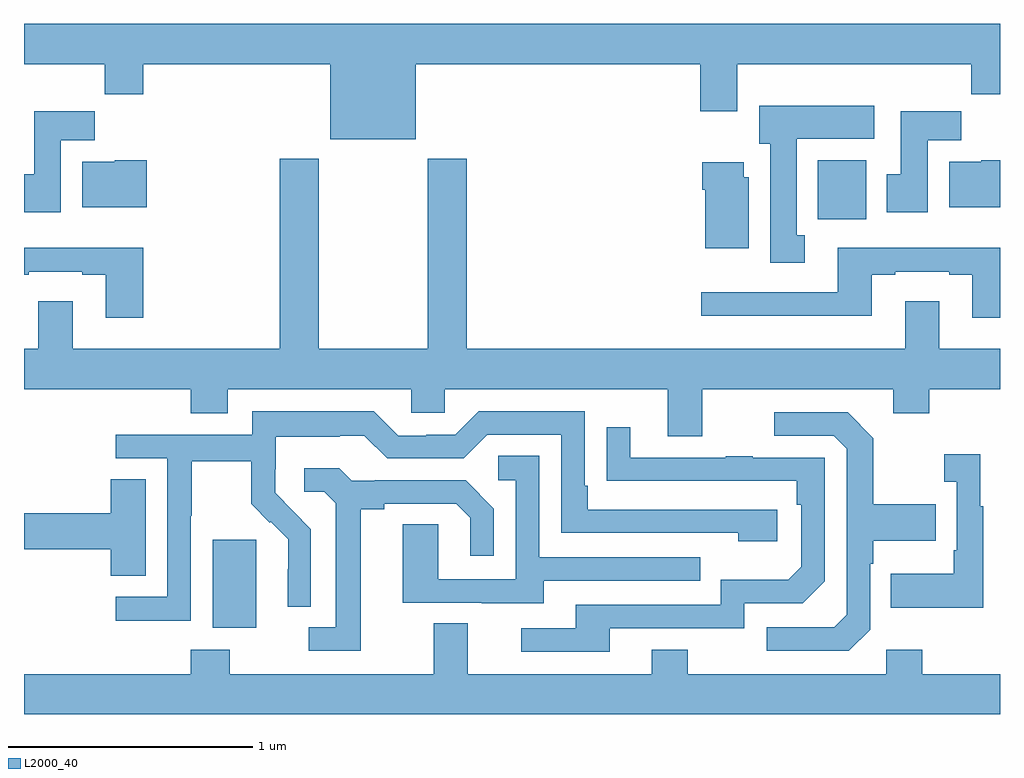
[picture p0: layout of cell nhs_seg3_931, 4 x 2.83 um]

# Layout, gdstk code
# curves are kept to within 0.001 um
import gdstk
lib = gdstk.Library(unit=1e-6, precision=1e-09)
def R(c, l, rs):  # rectangles x0, y0, x1, y1
    for r in rs: c.add(gdstk.rectangle(r[:2], r[2:], *l))
def P(c, l, *ps):  # polygons
    for p in ps: c.add(gdstk.Polygon(p, *l))
L2000_40 = (2000, 40)

nhs_seg3_931 = lib.new_cell('nhs_seg3_931')
R(nhs_seg3_931, L2000_40, [(159.773,705.266,159.952,705.627), (162.254,706.94,162.451,707.182)])
P(nhs_seg3_931, L2000_40, [(160.606,707.576),(161.771,707.576),(161.771,707.382),(161.923,707.382),(161.923,707.576),(162.883,707.576),(162.883,707.452),(163,707.452),(163,707.74),(159,707.74),(159,707.576),(159.331,707.576),(159.331,707.452),(159.488,707.452),(159.488,707.576),(160.256,707.576),(160.256,707.267),(160.606,707.267)],
  [(162.199,706.874),(162.166,706.874),(162.166,707.27),(162.484,707.27),(162.484,707.404),(162.014,707.404),(162.014,707.25),(162.059,707.25),(162.059,706.761),(162.199,706.761)],
  [(162.703,707.264),(162.842,707.264),(162.842,707.383),(162.593,707.383),(162.593,707.124),(162.536,707.124),(162.536,706.968),(162.703,706.968)],
  [(159.151,707.264),(159.29,707.264),(159.29,707.383),(159.041,707.383),(159.041,707.124),(159,707.124),(159,706.968),(159.151,706.968)],
  [(161.779,706.244),(162.563,706.244),(162.563,706.145),(162.711,706.145),(162.711,706.244),(163,706.244),(163,706.408),(162.751,706.408),(162.751,706.603),(162.611,706.603),(162.611,706.408),(160.814,706.408),(160.814,707.188),(160.654,707.188),(160.654,706.408),(160.209,706.408),(160.209,707.188),(160.049,707.188),(160.049,706.408),(159.199,706.408),(159.199,706.603),(159.059,706.603),(159.059,706.408),(159,706.408),(159,706.244),(159.683,706.244),(159.683,706.145),(159.835,706.145),(159.835,706.244),(160.587,706.244),(160.587,706.146),(160.725,706.146),(160.725,706.244),(161.639,706.244),(161.639,706.05),(161.779,706.05)],
  [(163,707.182),(162.924,707.182),(162.924,707.176),(162.791,707.176),(162.791,706.988),(163,706.988)],
  [(159.503,707.182),(159.372,707.182),(159.372,707.176),(159.239,707.176),(159.239,706.988),(159.503,706.988)],
  [(161.971,707.112),(161.95,707.112),(161.95,707.173),(161.78,707.173),(161.78,707.06),(161.792,707.06),(161.792,706.82),(161.971,706.82)],
  [(159.488,706.822),(159,706.822),(159,706.713),(159.019,706.713),(159.019,706.725),(159.239,706.725),(159.239,706.713),(159.335,706.713),(159.335,706.536),(159.488,706.536)],
  [(163,706.822),(162.335,706.822),(162.335,706.641),(161.775,706.641),(161.775,706.544),(162.475,706.544),(162.475,706.713),(162.571,706.713),(162.571,706.725),(162.791,706.725),(162.791,706.713),(162.887,706.713),(162.887,706.536),(163,706.536)],
  [(159.684,705.724),(159.687,705.724),(159.687,705.948),(159.931,705.948),(159.931,705.773),(160.008,705.696),(160.011,705.699),(160.082,705.629),(160.082,705.506),(160.08,705.506),(160.08,705.352),(160.176,705.352),(160.176,705.67),(160.03,705.818),(160.03,705.915),(160.032,705.915),(160.032,706.049),(160.295,706.049),(160.295,706.053),(160.395,706.053),(160.488,705.96),(160.803,705.96),(160.899,706.056),(161.202,706.056),(161.202,705.654),(161.927,705.654),(161.927,705.62),(162.088,705.62),(162.088,705.75),(161.311,705.75),(161.311,705.847),(161.298,705.847),(161.298,706.152),(160.863,706.152),(160.767,706.056),(160.649,706.056),(160.649,706.053),(160.533,706.053),(160.433,706.153),(159.936,706.153),(159.936,706.056),(159.375,706.056),(159.375,705.96),(159.588,705.96),(159.588,705.393),(159.375,705.393),(159.375,705.295),(159.684,705.295)],
  [(162.468,705.258),(162.468,705.527),(162.481,705.527),(162.481,705.623),(162.737,705.623),(162.737,705.771),(162.481,705.771),(162.481,706.043),(162.375,706.149),(162.075,706.149),(162.075,706.053),(162.318,706.053),(162.372,705.999),(162.372,705.318),(162.321,705.267),(162.045,705.267),(162.045,705.171),(162.381,705.171)],
  [(161.401,705.264),(161.952,705.264),(161.952,705.366),(162.192,705.366),(162.282,705.456),(162.282,705.963),(161.987,705.963),(161.987,705.968),(161.875,705.968),(161.875,705.963),(161.485,705.963),(161.485,706.087),(161.389,706.087),(161.389,705.868),(162.166,705.867),(162.166,705.77),(162.186,705.77),(162.186,705.516),(162.133,705.463),(161.856,705.463),(161.856,705.36),(161.261,705.36),(161.261,705.264),(161.037,705.264),(161.037,705.168),(161.401,705.168)],
  [(162.931,705.763),(162.919,705.763),(162.919,705.976),(162.771,705.976),(162.771,705.863),(162.822,705.863),(162.822,705.583),(162.81,705.583),(162.81,705.487),(162.553,705.487),(162.553,705.347),(162.931,705.347)],
  [(161.131,705.459),(161.771,705.459),(161.771,705.555),(161.112,705.555),(161.112,705.971),(160.944,705.971),(160.944,705.87),(161.016,705.87),(161.016,705.465),(160.698,705.465),(160.698,705.689),(160.553,705.689),(160.553,705.369),(160.877,705.369),(160.877,705.365),(161.131,705.365)],
  [(160.381,705.752),(160.477,705.752),(160.477,705.774),(160.772,705.774),(160.829,705.717),(160.829,705.561),(160.926,705.561),(160.926,705.754),(160.81,705.87),(160.438,705.87),(160.438,705.867),(160.344,705.867),(160.292,705.919),(160.149,705.919),(160.149,705.822),(160.23,705.822),(160.277,705.775),(160.277,705.267),(160.167,705.267),(160.167,705.171),(160.381,705.171)],
  [(159.499,705.875),(159.356,705.875),(159.356,705.734),(159,705.734),(159,705.587),(159.356,705.587),(159.356,705.478),(159.499,705.478)],
  [(163,705.076),(162.681,705.076),(162.681,705.175),(162.534,705.175),(162.534,705.076),(161.721,705.076),(161.721,705.175),(161.573,705.175),(161.573,705.076),(160.819,705.076),(160.819,705.284),(160.679,705.284),(160.679,705.076),(159.843,705.076),(159.843,705.175),(159.683,705.175),(159.683,705.076),(159,705.076),(159,704.912),(163,704.912)])

lib.write_gds('nhs_seg3_931.gds')
